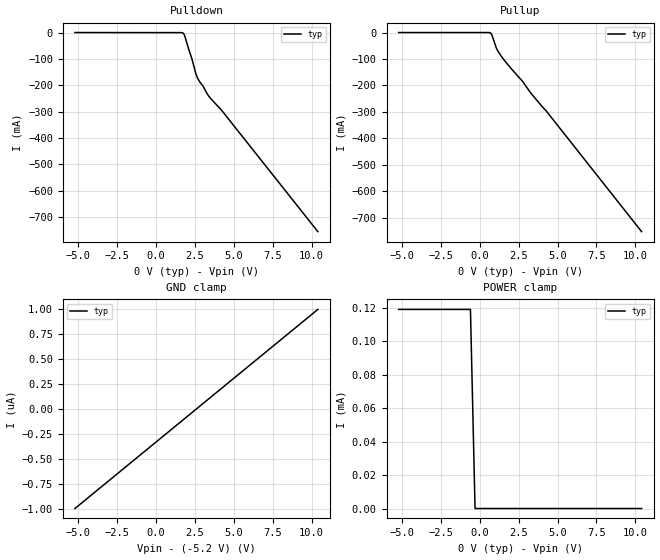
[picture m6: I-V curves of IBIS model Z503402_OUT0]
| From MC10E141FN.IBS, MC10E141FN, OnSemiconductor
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| (C) COPYRIGHT 1993-2000
| MENTOR GRAPHICS CORPORATION
| ICX STANDARD LIBRARY, ICX PROJECT MODELING,
| ICX CUSTOM MODELING, ICX VENDOR MODEL
| ALL RIGHTS RESERVED.
| THE FOLLOWING ARE TRADEMARKS OR SERVICE MARKS OF
| MENTOR GRAPHICS CORPORATION:ICX (R), ICX STANDARD
| LIBRARY(R), ICX PROJECT MODELING(R), ICX CUSTOM
| MODELING(R), qualityIBIS(TM), MODELVIEWER(TM),
| AND MODELEDITOR(TM)
| ALL COPIES OF SOFTWARE, INCLUDING BUT NOT LIMITED TO
| ANY MODIFICATIONS, ENHANCEMENTS OR DERIVATIVE WORKS,
| MUST CONTAIN ALL MENTOR GRAPHICS CORPORATION'S
| NOTICES AND LEGENDS, INCLUDING THOSE EMBEDDED IN
| SOFTWARE AND THOSE AFFIXED TO SOFTWARE MEDIUM
| AND CONTAINER, AS RECEIVED FROM MENTOR GRAPHICS
| CORPORATION.
| Model Application Version 1.89 2/18/99.
[Model] Z503402_OUT0
Model_type Output_ECL
Vref=-2.000V
Rref=50.00ohms
Cref=0.000F
Vmeas=-1.305V
C_comp 8.000pF NA NA
| variable typ   min   max
[Voltage Range] -5.200V NA NA
[POWER Clamp Reference] 0.000V NA NA
[Pullup Reference] 0.000V NA NA
[Pulldown Reference] 0.000V NA NA
[GND Clamp Reference] -5.200V NA NA
[GND Clamp]
-5.2V     -1uA       NA         NA
10.4V     1uA        NA         NA
[Pulldown]
-5.2V     385.9uA    NA         NA
1.604V    58.76uA    NA         NA
1.782V    -3.434mA   NA         NA
1.85V     -11.86mA   NA         NA
2.314V    -99.54mA   NA         NA
2.568V    -156.8mA   NA         NA
2.691V    -174.6mA   NA         NA
3.04V     -204.1mA   NA         NA
3.286V    -231.6mA   NA         NA
3.56V     -252.8mA   NA         NA
4.199V    -293.2mA   NA         NA
10.4V     -755.2mA   NA         NA
[Pullup]
-5.2V     -5.178uA   NA         NA
566.9mV   -5.178uA   NA         NA
724.8mV   -3.04mA    NA         NA
828.5mV   -16.21mA   NA         NA
1.06V     -56.86mA   NA         NA
1.167V    -69.8mA    NA         NA
1.641V    -109.1mA   NA         NA
2.759V    -184.7mA   NA         NA
3.379V    -235.4mA   NA         NA
4.291V    -297.6mA   NA         NA
10.4V     -752.5mA   NA         NA
[POWER Clamp]
-5.2V     119uA      NA         NA
-590.8mV  119uA      NA         NA
-295.4mV  0A         NA         NA
10.4V     0A         NA         NA
[Ramp]
| variable typ min max
dV/dt_r 553.8m/743.4p NA NA
dV/dt_f 553.8m/569.7p NA NA
R_load = 50.00Ohms
